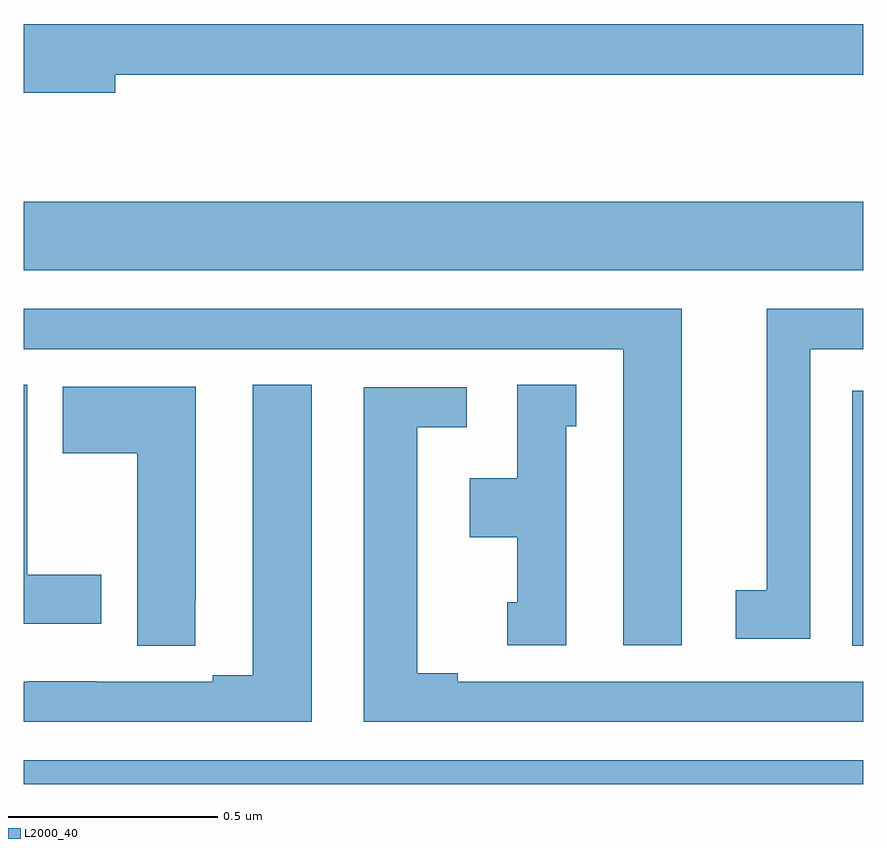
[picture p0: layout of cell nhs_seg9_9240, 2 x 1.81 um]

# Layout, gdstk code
import gdstk
lib = gdstk.Library(unit=1e-6, precision=1e-09)
def R(c, l, rs):  # rectangles x0, y0, x1, y1
    for r in rs: c.add(gdstk.rectangle(r[:2], r[2:], *l))
def P(c, l, *ps):  # polygons
    for p in ps: c.add(gdstk.Polygon(p, *l))
L2000_40 = (2000, 40)

nhs_seg9_9240 = lib.new_cell('nhs_seg9_9240')
R(nhs_seg9_9240, L2000_40, [(227,1224.5,229,1224.556), (228.974,1224.829,229,1225.437), (227,1225.724,229,1225.888)])
P(nhs_seg9_9240, L2000_40, [(227.218,1226.19),(229,1226.19),(229,1226.311),(227,1226.311),(227,1226.147),(227.218,1226.147)],
  [(228.874,1225.536),(229,1225.536),(229,1225.632),(228.77,1225.632),(228.77,1224.962),(228.696,1224.962),(228.696,1224.846),(228.874,1224.846)],
  [(228.568,1225.632),(227,1225.632),(227,1225.536),(228.428,1225.536),(228.428,1224.831),(228.568,1224.831)],
  [(227.686,1225.451),(227.546,1225.451),(227.546,1224.759),(227.45,1224.759),(227.45,1224.744),(227.174,1224.744),(227.174,1224.745),(227.008,1224.745),(227.008,1224.744),(227,1224.744),(227,1224.648),(227.686,1224.648)],
  [(228.292,1225.353),(228.316,1225.353),(228.316,1225.451),(228.176,1225.451),(228.176,1225.228),(228.062,1225.228),(228.062,1225.088),(228.176,1225.088),(228.176,1224.933),(228.152,1224.933),(228.152,1224.831),(228.292,1224.831)],
  [(227.185,1224.999),(227.008,1224.999),(227.008,1225.451),(227,1225.451),(227,1224.882),(227.185,1224.882)],
  [(227.409,1224.937),(227.41,1224.937),(227.41,1225.447),(227.093,1225.447),(227.093,1225.288),(227.27,1225.288),(227.27,1224.829),(227.409,1224.829)],
  [(229,1224.744),(228.034,1224.744),(228.034,1224.764),(227.938,1224.764),(227.938,1225.35),(228.055,1225.35),(228.055,1225.446),(227.81,1225.446),(227.81,1224.648),(229,1224.648)])

lib.write_gds('nhs_seg9_9240.gds')
